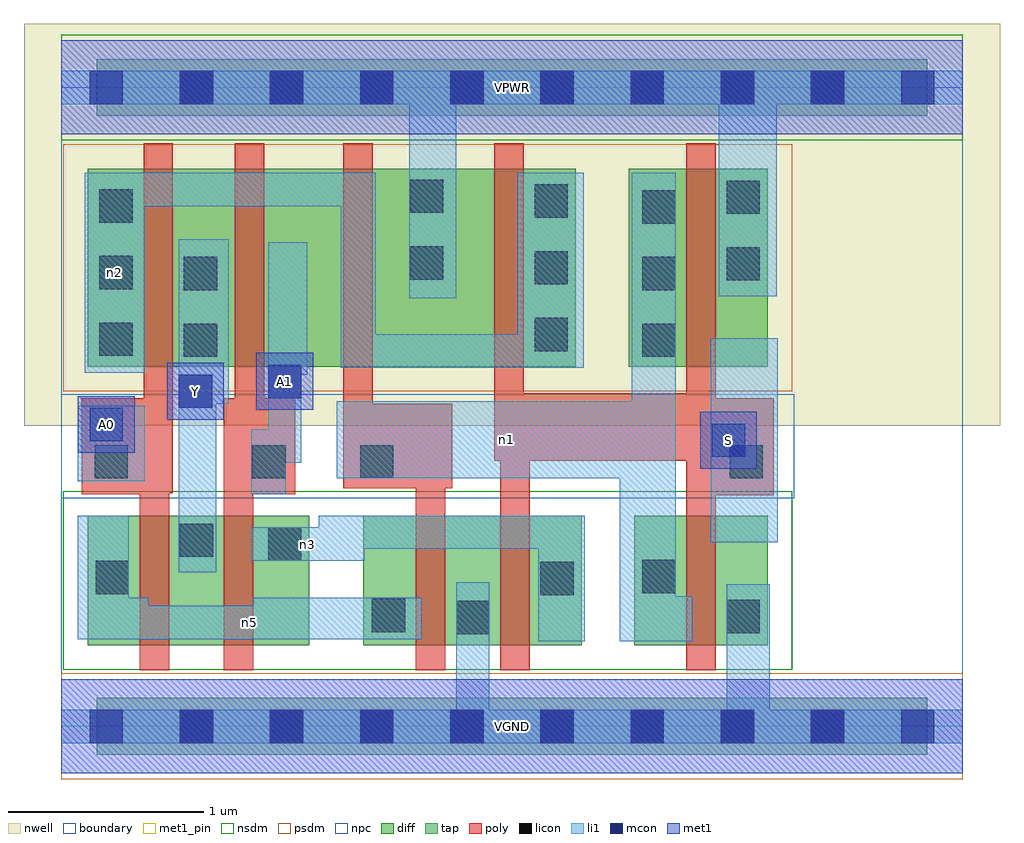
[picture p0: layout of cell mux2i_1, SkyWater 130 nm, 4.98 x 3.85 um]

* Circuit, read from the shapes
.subckt mux2i_1 A0 A1 S VGND VPWR Y n1 n2 n3 n5
XM1 Y A0 n5 VGND sky130_fd_pr__nfet_01v8 w=0.66 l=0.15
XM2 n3 A1 Y VGND sky130_fd_pr__nfet_01v8 w=0.66 l=0.15
XM3 VGND n1 n5 VGND sky130_fd_pr__nfet_01v8 w=0.66 l=0.15
XM4 n3 S VGND VGND sky130_fd_pr__nfet_01v8 w=0.66 l=0.15
XM5 VGND S n1 VGND sky130_fd_pr__nfet_01v8 w=0.66 l=0.15
XM6 Y A0 n2 VPWR sky130_fd_pr__pfet_01v8 w=1.01 l=0.15
XM7 n4 A1 Y VPWR sky130_fd_pr__pfet_01v8 w=1.01 l=0.15
XM8 VPWR n1 n4 VPWR sky130_fd_pr__pfet_01v8 w=1.01 l=0.15
XM9 n2 S VPWR VPWR sky130_fd_pr__pfet_01v8 w=1.01 l=0.15
XM10 VPWR S n1 VPWR sky130_fd_pr__pfet_01v8 w=1.01 l=0.15
.ends

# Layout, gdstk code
import gdstk
lib = gdstk.Library(unit=1e-6, precision=1e-09)
def R(c, l, rs):  # rectangles x0, y0, x1, y1
    for r in rs: c.add(gdstk.rectangle(r[:2], r[2:], *l))
def A(c, l, x, y, w, h, nx, ny, dx, dy):  # array of equal rectangles
    R(c, l, [(x+i*dx, y+j*dy, x+i*dx+w, y+j*dy+h) for i in range(nx) for j in range(ny)])
nwell = (64, 20)
diff = (65, 20)
tap = (65, 44)
poly = (66, 20)
licon = (66, 44)
li1 = (67, 20)
mcon = (67, 44)
met1_pin = (68, 16)
met1 = (68, 20)
nsdm = (93, 44)
psdm = (94, 20)
npc = (95, 20)
boundary = (235, 4)

mux2i_1 = lib.new_cell('mux2i_1')
R(mux2i_1, nwell, [(-0.19,1.535,4.79,3.585), (0,1.535,4.6,3.585)])
R(mux2i_1, diff, [(0.135,0.415,1.265,1.075), (1.54,0.415,2.655,1.075), (2.925,0.415,3.605,1.075), (0.135,1.835,2.625,2.845), (2.895,1.835,3.605,2.845)])
R(mux2i_1, tap, [(0.18,-0.145,4.42,0.145), (0.18,3.115,4.42,3.405)])
R(mux2i_1, poly, [(0.4,0.285,0.55,1.675), (0.83,0.285,0.98,1.675), (1.81,0.285,1.96,1.645), (2.24,0.285,2.39,1.7), (3.19,0.285,3.34,2.975), (3.19,1.18,3.635,1.675), (0.105,1.185,0.55,1.675), (0.83,1.185,1.195,1.675), (0.885,1.185,1.035,2.975), (0.42,1.19,0.57,2.975), (1.44,1.215,1.59,2.975), (1.44,1.215,1.995,1.645), (2.21,1.355,2.36,2.975), (2.21,1.355,3.34,1.7)])
A(mux2i_1, licon, 0.605, -0.085, 0.17, 0.17, 8, 2, 0.46, 3.26)
A(mux2i_1, licon, 2.965, 1.885, 0.17, 0.17, 1, 3, 0, 0.34)
A(mux2i_1, licon, 0.195, 1.89, 0.17, 0.17, 1, 3, 0, 0.34)
A(mux2i_1, licon, 2.415, 1.915, 0.17, 0.17, 1, 3, 0, 0.34)
R(mux2i_1, licon, [(2.015,0.47,2.185,0.64), (3.395,0.475,3.565,0.645), (1.585,0.48,1.755,0.65), (2.445,0.67,2.615,0.84), (0.175,0.675,0.345,0.845), (2.965,0.68,3.135,0.85), (1.055,0.845,1.225,1.015), (0.605,0.865,0.775,1.035), (0.17,1.265,0.34,1.435), (0.975,1.265,1.145,1.435), (1.525,1.265,1.695,1.435), (3.41,1.265,3.58,1.435), (0.625,1.885,0.795,2.055), (0.625,2.225,0.795,2.395), (3.395,2.275,3.565,2.445), (1.78,2.28,1.95,2.45), (3.395,2.615,3.565,2.785), (1.78,2.62,1.95,2.79)])
R(mux2i_1, li1, [(0,-0.085,4.6,0.085), (2.015,-0.085,2.185,0.735), (3.395,-0.085,3.615,0.725), (2.435,0.435,2.67,1.075), (2.85,0.435,3.135,1.66), (2.85,0.435,3.22,0.665), (2.91,0.435,3.135,2.825), (0.085,0.445,1.84,0.615), (0.085,0.445,0.345,1.075), (0.085,0.445,0.445,0.655), (0.98,0.445,1.84,0.655), (0.6,0.785,0.79,2.485), (0.97,0.845,1.545,1.015), (1.315,0.905,2.435,1.075), (3.315,0.94,3.655,1.98), (0.97,1.185,1.145,1.515), (0.085,1.25,0.425,1.635), (1.405,1.265,3.135,1.66), (1.145,1.345,1.225,2.47), (1.055,1.515,1.225,2.47), (0.6,1.645,0.855,2.485), (1.055,1.795,1.255,2.47), (0.12,1.805,0.425,2.825), (1.425,1.83,2.665,2), (1.425,1.83,1.605,2.825), (2.33,1.83,2.665,2.825), (1.775,2.185,2.015,3.345), (3.355,2.195,3.65,3.345), (0.12,2.655,1.605,2.825), (0,3.175,4.6,3.345)])
A(mux2i_1, mcon, 0.145, -0.085, 0.17, 0.17, 10, 2, 0.46, 3.26)
R(mux2i_1, mcon, [(3.32,1.375,3.49,1.545), (0.145,1.455,0.315,1.625), (0.6,1.625,0.77,1.795), (1.055,1.675,1.225,1.845)])
R(mux2i_1, met1_pin, [(0,-0.24,4.6,0.24), (3.26,1.315,3.55,1.605), (0.085,1.395,0.375,1.685), (0.54,1.565,0.83,1.855), (0.995,1.615,1.285,1.905), (0,3.02,4.6,3.5)])
R(mux2i_1, met1, [(0,-0.24,4.6,0.24), (3.26,1.315,3.55,1.605), (0.085,1.395,0.375,1.685), (0.54,1.565,0.83,1.855), (0.995,1.615,1.285,1.905), (0,3.02,4.6,3.5)])
R(mux2i_1, nsdm, [(0.01,0.29,3.73,1.2), (0,2.99,4.6,3.53)])
R(mux2i_1, psdm, [(0,-0.27,4.6,0.27), (0.01,1.71,3.73,2.97)])
R(mux2i_1, npc, [(0,1.165,3.74,1.695)])
R(mux2i_1, boundary, [(0,0,4.6,3.26)])
mux2i_1.add(gdstk.Label('n5', (0.962,0.53), layer=67, texttype=5))
mux2i_1.add(gdstk.Label('n3', (1.257,0.93), layer=67, texttype=5))
mux2i_1.add(gdstk.Label('n2', (0.272,2.315), layer=67, texttype=5))
mux2i_1.add(gdstk.Label('n1', (2.27,1.462), layer=67, texttype=5))
mux2i_1.add(gdstk.Label('A0', (0.23,1.54), layer=68, texttype=5))
mux2i_1.add(gdstk.Label('A1', (1.14,1.76), layer=68, texttype=5))
mux2i_1.add(gdstk.Label('S', (3.405,1.46), layer=68, texttype=5))
mux2i_1.add(gdstk.Label('Y', (0.685,1.71), layer=68, texttype=5))
mux2i_1.add(gdstk.Label('VPWR', (2.3,3.26), layer=68, texttype=5))
mux2i_1.add(gdstk.Label('VGND', (2.3,0), layer=68, texttype=5))
mux2i_1.add(gdstk.Label('A0', (0.23,1.54), layer=68, texttype=16))
mux2i_1.add(gdstk.Label('A1', (1.14,1.76), layer=68, texttype=16))
mux2i_1.add(gdstk.Label('S', (3.405,1.46), layer=68, texttype=16))
mux2i_1.add(gdstk.Label('Y', (0.685,1.71), layer=68, texttype=16))
mux2i_1.add(gdstk.Label('VPWR', (2.3,3.26), layer=68, texttype=16))
mux2i_1.add(gdstk.Label('VGND', (2.3,0), layer=68, texttype=16))

lib.write_gds('mux2i_1.gds')
